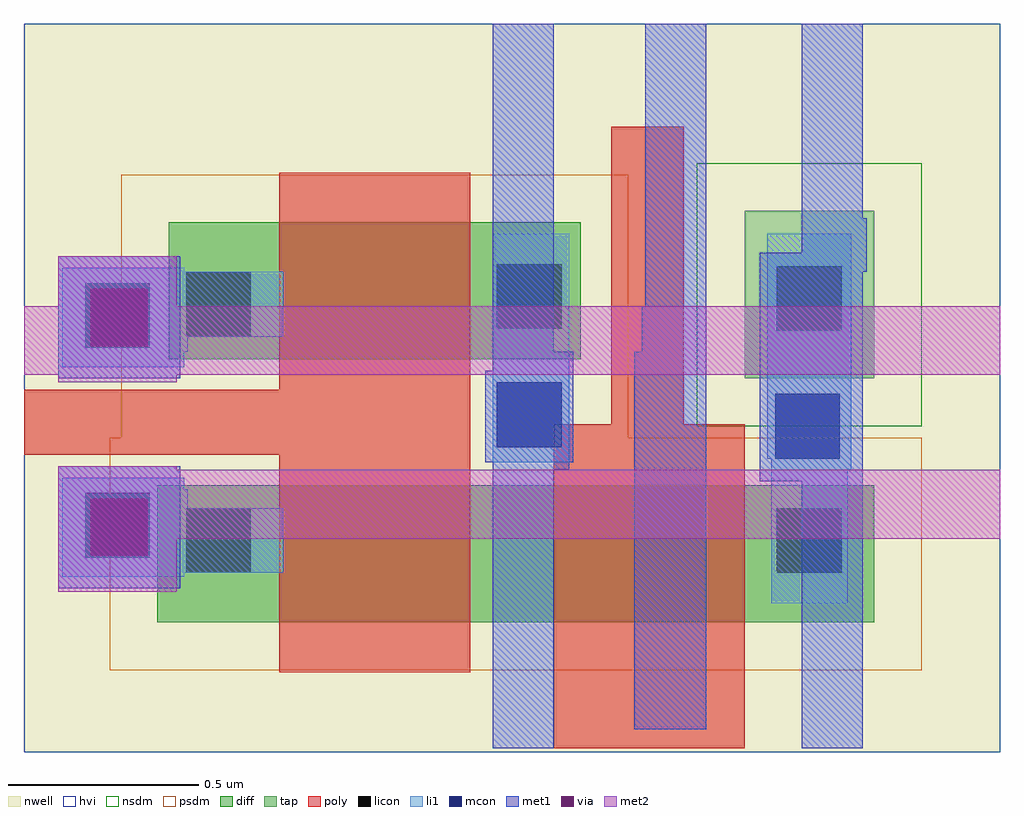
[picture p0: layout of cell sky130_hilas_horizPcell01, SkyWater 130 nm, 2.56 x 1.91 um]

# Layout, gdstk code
import gdstk
lib = gdstk.Library(unit=1e-6, precision=1e-09)
def R(c, l, rs):  # rectangles x0, y0, x1, y1
    for r in rs: c.add(gdstk.rectangle(r[:2], r[2:], *l))
nwell = (64, 20)
diff = (65, 20)
tap = (65, 44)
poly = (66, 20)
licon = (66, 44)
li1 = (67, 20)
mcon = (67, 44)
met1 = (68, 20)
via = (68, 44)
met2 = (69, 20)
hvi = (75, 20)
nsdm = (93, 44)
psdm = (94, 20)

sky130_hilas_li2m2 = lib.new_cell('sky130_hilas_li2m2')
R(sky130_hilas_li2m2, li1, [(-0.13,-0.12,0.19,-0.09), (-0.13,-0.09,0.2,0.1), (-0.13,0.1,0.19,0.14)])
R(sky130_hilas_li2m2, mcon, [(-0.07,-0.08,0.1,0.09)])
R(sky130_hilas_li2m2, met1, [(-0.14,-0.15,0.18,0.17)])
R(sky130_hilas_li2m2, via, [(-0.055,-0.065,0.095,0.085)])
R(sky130_hilas_li2m2, met2, [(-0.14,-0.15,0.17,0.18)])

sky130_hilas_horizpcell0 = lib.new_cell('sky130_hilas_horizPcell01')
R(sky130_hilas_horizpcell0, nwell, [(-2.89,0.41,-0.33,2.32)])
R(sky130_hilas_horizpcell0, diff, [(-2.54,0.75,-0.66,1.11), (-2.51,1.44,-1.43,1.8)])
R(sky130_hilas_horizpcell0, tap, [(-1,1.39,-0.66,1.83)])
R(sky130_hilas_horizpcell0, poly, [(-1.5,0.42,-1,1.27), (-2.22,0.62,-1.72,1.19), (-2.89,1.19,-1.72,1.36), (-1.35,1.27,-1.16,2.05), (-2.22,1.36,-1.72,1.93)])
R(sky130_hilas_horizpcell0, licon, [(-2.465,0.88,-2.295,1.05), (-0.915,0.88,-0.745,1.05), (-2.465,1.5,-2.295,1.67), (-0.915,1.515,-0.745,1.685), (-1.65,1.52,-1.48,1.69)])
R(sky130_hilas_horizpcell0, li1, [(-0.93,0.8,-0.73,1.15), (-2.55,0.88,-2.21,1.05), (-0.93,1.15,-0.72,1.18), (-1.66,1.17,-1.46,1.77), (-0.94,1.18,-0.72,1.77), (-2.55,1.5,-2.21,1.67)])
R(sky130_hilas_horizpcell0, mcon, [(-0.92,1.18,-0.75,1.35), (-1.65,1.21,-1.48,1.38)])
R(sky130_hilas_horizpcell0, met1, [(-1.66,0.42,-1.5,1.15), (-0.85,0.42,-0.69,1.12), (-1.29,0.47,-1.1,1.46), (-0.96,1.12,-0.69,1.67), (-1.66,1.15,-1.46,1.17), (-1.68,1.17,-1.45,1.41), (-1.66,1.41,-1.45,1.46), (-1.66,1.46,-1.5,2.32), (-1.27,1.46,-1.1,1.58), (-1.26,1.58,-1.1,2.32), (-0.96,1.67,-0.68,1.72), (-0.85,1.72,-0.68,1.81), (-0.85,1.81,-0.69,2.32)])
R(sky130_hilas_horizpcell0, met2, [(-2.51,0.97,-0.33,1.15), (-2.89,1.4,-2.8,1.58), (-2.5,1.4,-0.33,1.58)])
R(sky130_hilas_horizpcell0, hvi, [(-2.89,0.41,-0.33,2.32)])
R(sky130_hilas_horizpcell0, nsdm, [(-1.125,1.265,-0.535,1.955)])
R(sky130_hilas_horizpcell0, psdm, [(-2.665,0.625,-0.535,1.235), (-2.635,1.235,-1.305,1.925)])
sky130_hilas_horizpcell0.add(gdstk.Reference(sky130_hilas_li2m2, (-2.66,1.01), x_reflection=True))
sky130_hilas_horizpcell0.add(gdstk.Reference(sky130_hilas_li2m2, (-2.66,1.56), x_reflection=True))

lib.write_gds('sky130_hilas_horizPcell01.gds')
